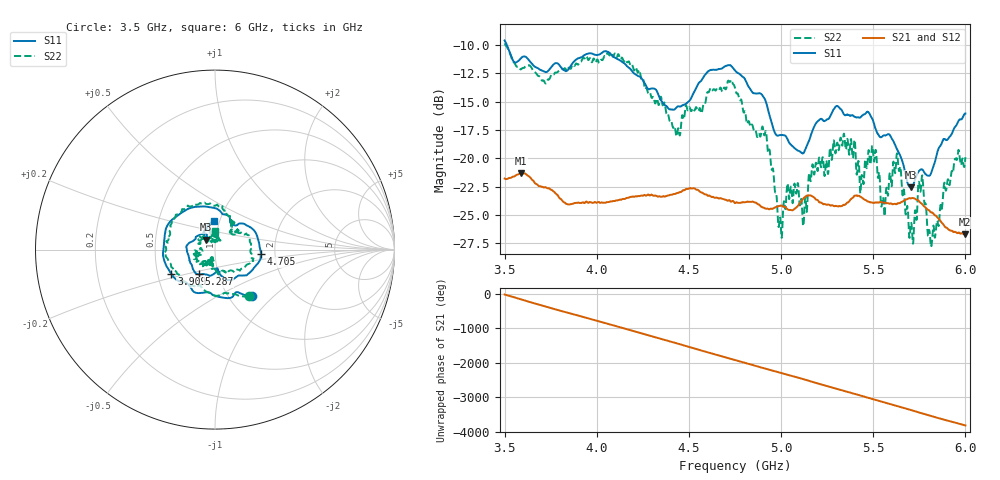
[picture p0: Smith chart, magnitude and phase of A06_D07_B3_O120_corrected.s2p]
! Created with skrf 1.9.0 (http://scikit-rf.org).
# Hz S RI R 50.0
!freq ReS11 ImS11 ReS21 ImS21 ReS12 ImS12 ReS22 ImS22
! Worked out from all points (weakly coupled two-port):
!   1601 points, 3.5 GHz to 6 GHz, reference 50 ohm
!   highest |S21| = -21.31 dB at 3.591 GHz (marker M1); lowest = -26.7 dB at 5.995 GHz (marker M2)
!   lowest |S11| = -22.6 dB at 5.703 GHz (marker M3), VSWR 1.16, Z = 45.1 + j5.1 ohm
!   |S11| at or under -10 dB: 3.513 GHz to end of sweep
!   |S22| runs from -27.8 to -9.8 dB; largest |S21 - S12| = 0.00099
!   S11 on the Smith chart (normalised r, x): 3.5 GHz: 1.28, -0.75; 3.909 GHz: 0.59, -0.17; 4.705 GHz: 1.68, -0.10; 5.287 GHz: 0.80, -0.23; 6 GHz: 0.94, +0.30
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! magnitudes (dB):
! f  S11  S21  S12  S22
! 3.5 GHz  -9.6  -21.8  -21.8  -9.8
! 3.591 GHz  -11.1  -21.3  -21.3  -12.1
! 3.909 GHz  -11.1  -24.0  -23.9  -11.5
! 3.917 GHz  -11.1  -24.0  -23.9  -11.4
! 4.334 GHz  -14.4  -23.4  -23.3  -15.3
! 4.441 GHz  -15.4  -23.1  -23.0  -17.4
! 4.705 GHz  -11.8  -23.7  -23.7  -13.7
! 4.75 GHz  -12.2  -24.0  -23.9  -13.8
! 4.911 GHz  -14.7  -24.4  -24.4  -17.9
! 4.995 GHz  -17.9  -24.2  -24.2  -25.2
! 5.044 GHz  -18.6  -24.6  -24.5  -23.6
! 5.128 GHz  -19.3  -23.5  -23.5  -23.9
! 5.167 GHz  -17.7  -23.4  -23.3  -20.9
! 5.287 GHz  -15.6  -24.2  -24.2  -18.5
! 5.553 GHz  -18.0  -23.9  -23.9  -23.4
! 5.584 GHz  -17.9  -24.0  -24.0  -22.3
! 5.638 GHz  -19.5  -24.0  -23.9  -20.9
! 5.703 GHz  -22.6  -23.5  -23.5  -25.9
! 5.756 GHz  -21.0  -23.9  -23.9  -23.0
! 5.822 GHz  -21.0  -24.8  -24.8  -26.8
! 5.995 GHz  -16.1  -26.7  -26.7  -20.7
! 6 GHz  -16.0  -26.7  -26.7  -19.9
